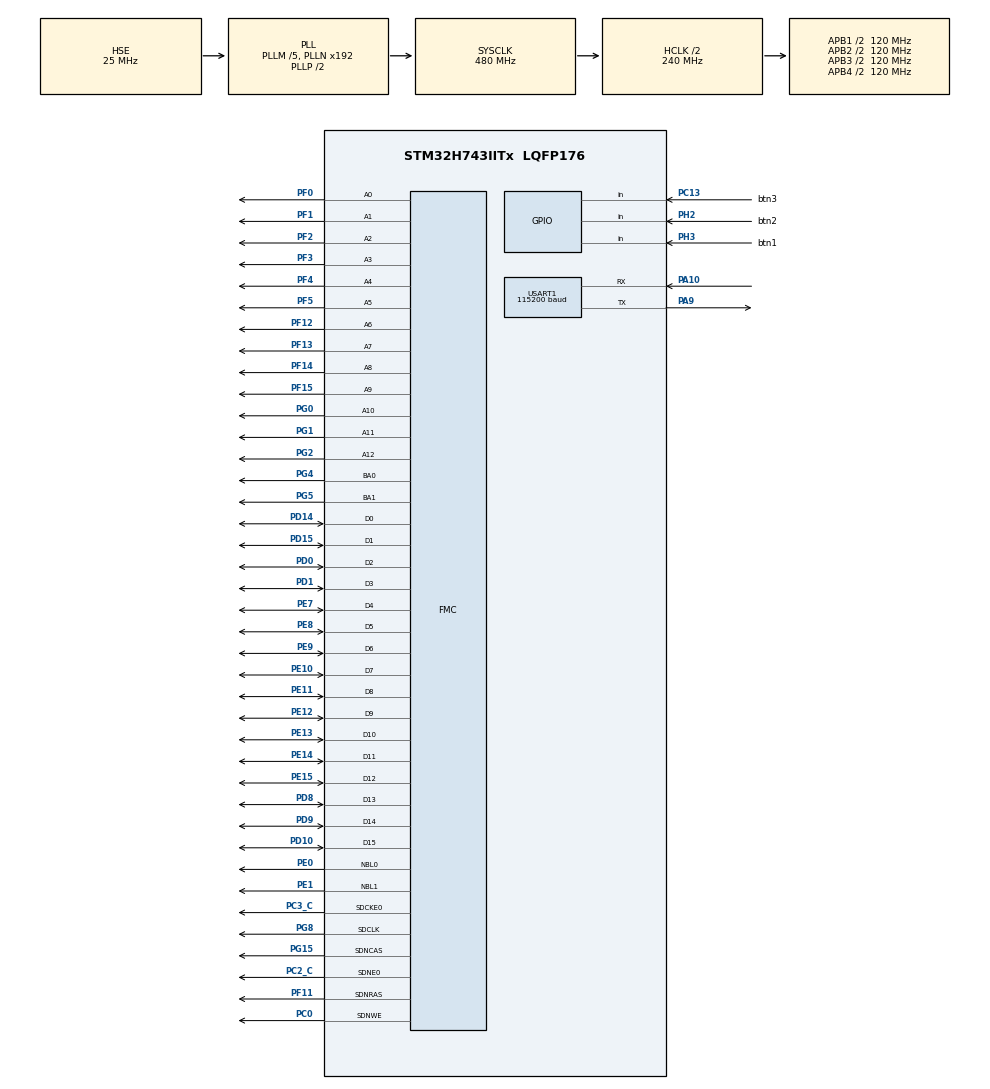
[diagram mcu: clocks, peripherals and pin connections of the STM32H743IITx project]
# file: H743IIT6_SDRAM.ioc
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CORTEX_M7.CPU_ICache=Disabled
CORTEX_M7.MPU_Control=__NULL
CORTEX_M7.default_mode_Activation=1
Dma.Request0=USART1_RX
Dma.Request1=USART1_TX
Dma.USART1_RX.0.Direction=DMA_PERIPH_TO_MEMORY
Dma.USART1_RX.0.EventEnable=DISABLE
Dma.USART1_RX.0.FIFOMode=DMA_FIFOMODE_DISABLE
Dma.USART1_RX.0.Instance=DMA1_Stream0
Dma.USART1_RX.0.MemDataAlignment=DMA_MDATAALIGN_BYTE
Dma.USART1_RX.0.MemInc=DMA_MINC_ENABLE
Dma.USART1_RX.0.Mode=DMA_NORMAL
Dma.USART1_RX.0.PeriphDataAlignment=DMA_PDATAALIGN_BYTE
Dma.USART1_RX.0.PeriphInc=DMA_PINC_DISABLE
Dma.USART1_RX.0.Polarity=HAL_DMAMUX_REQ_GEN_RISING
Dma.USART1_RX.0.Priority=DMA_PRIORITY_LOW
Dma.USART1_RX.0.RequestNumber=1
Dma.USART1_RX.0.SignalID=NONE
Dma.USART1_RX.0.SyncEnable=DISABLE
Dma.USART1_RX.0.SyncPolarity=HAL_DMAMUX_SYNC_NO_EVENT
Dma.USART1_RX.0.SyncRequestNumber=1
Dma.USART1_RX.0.SyncSignalID=NONE
Dma.USART1_TX.1.Direction=DMA_MEMORY_TO_PERIPH
Dma.USART1_TX.1.EventEnable=DISABLE
Dma.USART1_TX.1.FIFOMode=DMA_FIFOMODE_DISABLE
Dma.USART1_TX.1.Instance=DMA1_Stream1
Dma.USART1_TX.1.MemDataAlignment=DMA_MDATAALIGN_BYTE
Dma.USART1_TX.1.MemInc=DMA_MINC_ENABLE
Dma.USART1_TX.1.Mode=DMA_NORMAL
Dma.USART1_TX.1.PeriphDataAlignment=DMA_PDATAALIGN_BYTE
Dma.USART1_TX.1.PeriphInc=DMA_PINC_DISABLE
Dma.USART1_TX.1.Polarity=HAL_DMAMUX_REQ_GEN_RISING
Dma.USART1_TX.1.Priority=DMA_PRIORITY_LOW
Dma.USART1_TX.1.RequestNumber=1
Dma.USART1_TX.1.SignalID=NONE
Dma.USART1_TX.1.SyncEnable=DISABLE
Dma.USART1_TX.1.SyncPolarity=HAL_DMAMUX_SYNC_NO_EVENT
Dma.USART1_TX.1.SyncRequestNumber=1
Dma.USART1_TX.1.SyncSignalID=NONE
FMC.CASLatency1=FMC_SDRAM_CAS_LATENCY_2
FMC.ColumnBitsNumber1=FMC_SDRAM_COLUMN_BITS_NUM_9
FMC.ExitSelfRefreshDelay1=8
FMC.LoadToActiveDelay1=2
FMC.RCDDelay1=2
FMC.RPDelay1=2
FMC.RPDelay2=2
FMC.ReadBurst1=FMC_SDRAM_RBURST_ENABLE
FMC.ReadBurst2=FMC_SDRAM_RBURST_ENABLE
FMC.ReadPipeDelay1=FMC_SDRAM_RPIPE_DELAY_1
FMC.ReadPipeDelay2=FMC_SDRAM_RPIPE_DELAY_1
FMC.RowCycleDelay1=6
FMC.RowCycleDelay2=6
FMC.SDClockPeriod1=FMC_SDRAM_CLOCK_PERIOD_2
FMC.SDClockPeriod2=FMC_SDRAM_CLOCK_PERIOD_2
FMC.SelfRefreshTime1=6
FMC.WriteRecoveryTime1=4
Mcu.Family=STM32H7
Mcu.Name=STM32H743IITx
Mcu.Package=LQFP176
NVIC.DMA1_Stream0_IRQn=true\:0\:0\:false\:false\:true\:false\:true\:true
NVIC.DMA1_Stream1_IRQn=true\:0\:0\:false\:false\:true\:false\:true\:true
NVIC.FMC_IRQn=true\:0\:0\:false\:false\:true\:true\:true\:true
NVIC.PriorityGroup=NVIC_PRIORITYGROUP_4
NVIC.TIM2_IRQn=true\:0\:0\:false\:false\:true\:true\:true\:true
NVIC.USART1_IRQn=true\:0\:0\:false\:false\:true\:true\:true\:true
PA10.GPIO_Speed=GPIO_SPEED_FREQ_VERY_HIGH
PA10.Mode=Asynchronous
PA10.Signal=USART1_RX
PA13\ (JTMS/SWDIO).Mode=Serial_Wire
PA13\ (JTMS/SWDIO).Signal=DEBUG_JTMS-SWDIO
PA14\ (JTCK/SWCLK).Mode=Serial_Wire
PA14\ (JTCK/SWCLK).Signal=DEBUG_JTCK-SWCLK
PA9.GPIO_Speed=GPIO_SPEED_FREQ_VERY_HIGH
PA9.Mode=Asynchronous
PA9.Signal=USART1_TX
PC0.Signal=FMC_SDNWE
PC13.GPIO_Label=btn3
PC13.GPIO_PuPd=GPIO_PULLUP
PC13.Signal=GPIO_Input
PC14-OSC32_IN\ (OSC32_IN).Mode=LSE-External-Oscillator
PC14-OSC32_IN\ (OSC32_IN).Signal=RCC_OSC32_IN
PC15-OSC32_OUT\ (OSC32_OUT).Mode=LSE-External-Oscillator
PC15-OSC32_OUT\ (OSC32_OUT).Signal=RCC_OSC32_OUT
PC2_C.Mode=SdramChipSelect1_1
PC2_C.Signal=FMC_SDNE0
PC3_C.Mode=SdramChipSelect1_1
PC3_C.Signal=FMC_SDCKE0
PD0.Signal=FMC_D2_DA2
PD1.Signal=FMC_D3_DA3
PD10.Signal=FMC_D15_DA15
PD14.Signal=FMC_D0_DA0
PD15.Signal=FMC_D1_DA1
PD8.Signal=FMC_D13_DA13
PD9.Signal=FMC_D14_DA14
PE0.Signal=FMC_NBL0
PE1.Signal=FMC_NBL1
PE10.Signal=FMC_D7_DA7
PE11.Signal=FMC_D8_DA8
PE12.Signal=FMC_D9_DA9
PE13.Signal=FMC_D10_DA10
PE14.Signal=FMC_D11_DA11
PE15.Signal=FMC_D12_DA12
PE7.Signal=FMC_D4_DA4
PE8.Signal=FMC_D5_DA5
PE9.Signal=FMC_D6_DA6
PF0.Signal=FMC_A0
PF1.Signal=FMC_A1
PF11.Signal=FMC_SDNRAS
PF12.Signal=FMC_A6
PF13.Signal=FMC_A7
PF14.Signal=FMC_A8
PF15.Signal=FMC_A9
PF2.Signal=FMC_A2
PF3.Signal=FMC_A3
PF4.Signal=FMC_A4
PF5.Signal=FMC_A5
PG0.Signal=FMC_A10
PG1.Signal=FMC_A11
PG15.Signal=FMC_SDNCAS
PG2.Signal=FMC_A12
PG4.Signal=FMC_A14_BA0
PG5.Signal=FMC_A15_BA1
PG8.Signal=FMC_SDCLK
PH0-OSC_IN\ (PH0).Mode=HSE-External-Oscillator
PH0-OSC_IN\ (PH0).Signal=RCC_OSC_IN
PH1-OSC_OUT\ (PH1).Mode=HSE-External-Oscillator
PH1-OSC_OUT\ (PH1).Signal=RCC_OSC_OUT
PH2.GPIO_Label=btn2
PH2.GPIO_PuPd=GPIO_PULLUP
PH2.Signal=GPIO_Input
PH3.GPIO_Label=btn1
PH3.GPIO_PuPd=GPIO_PULLUP
PH3.Signal=GPIO_Input
ProjectManager.HeapSize=0x800
ProjectManager.StackSize=0x800
ProjectManager.TargetToolchain=STM32CubeIDE
RCC.ADCFreq_Value=220000000
RCC.APB1Freq_Value=120000000
RCC.APB2Freq_Value=120000000
RCC.APB3Freq_Value=120000000
RCC.APB4Freq_Value=120000000
RCC.CortexFreq_Value=480000000
RCC.D1PPRE=RCC_APB3_DIV2
RCC.D2PPRE1=RCC_APB1_DIV2
RCC.D2PPRE2=RCC_APB2_DIV2
RCC.D3PPRE=RCC_APB4_DIV2
RCC.DIVM1=5
RCC.DIVM2=25
RCC.DIVM3=25
RCC.DIVN1=192
RCC.DIVN2=440
RCC.DIVN3=440
RCC.HCLKFreq_Value=240000000
RCC.HPRE=RCC_HCLK_DIV2
RCC.PLL2FRACN=0
RCC.PLL3FRACN=0
RCC.PLLFRACN=0
RCC.PLLSourceVirtual=RCC_PLLSOURCE_HSE
RCC.SYSCLKFreq_VALUE=480000000
RCC.SYSCLKSource=RCC_SYSCLKSOURCE_PLLCLK
RCC.USBFreq_Value=480000000
SH.FMC_A0.0=FMC_A0,13b-sda1
SH.FMC_A1.0=FMC_A1,13b-sda1
SH.FMC_A10.0=FMC_A10,13b-sda1
SH.FMC_A11.0=FMC_A11,13b-sda1
SH.FMC_A12.0=FMC_A12,13b-sda1
SH.FMC_A14_BA0.0=FMC_BA0,FourSdramBanks1
SH.FMC_A15_BA1.0=FMC_BA1,FourSdramBanks1
SH.FMC_A2.0=FMC_A2,13b-sda1
SH.FMC_A3.0=FMC_A3,13b-sda1
SH.FMC_A4.0=FMC_A4,13b-sda1
SH.FMC_A5.0=FMC_A5,13b-sda1
SH.FMC_A6.0=FMC_A6,13b-sda1
SH.FMC_A7.0=FMC_A7,13b-sda1
SH.FMC_A8.0=FMC_A8,13b-sda1
SH.FMC_A9.0=FMC_A9,13b-sda1
SH.FMC_D0_DA0.0=FMC_D0,sd-16b-d1
SH.FMC_D10_DA10.0=FMC_D10,sd-16b-d1
SH.FMC_D11_DA11.0=FMC_D11,sd-16b-d1
SH.FMC_D12_DA12.0=FMC_D12,sd-16b-d1
SH.FMC_D13_DA13.0=FMC_D13,sd-16b-d1
SH.FMC_D14_DA14.0=FMC_D14,sd-16b-d1
SH.FMC_D15_DA15.0=FMC_D15,sd-16b-d1
SH.FMC_D1_DA1.0=FMC_D1,sd-16b-d1
SH.FMC_D2_DA2.0=FMC_D2,sd-16b-d1
SH.FMC_D3_DA3.0=FMC_D3,sd-16b-d1
SH.FMC_D4_DA4.0=FMC_D4,sd-16b-d1
SH.FMC_D5_DA5.0=FMC_D5,sd-16b-d1
SH.FMC_D6_DA6.0=FMC_D6,sd-16b-d1
SH.FMC_D7_DA7.0=FMC_D7,sd-16b-d1
SH.FMC_D8_DA8.0=FMC_D8,sd-16b-d1
SH.FMC_D9_DA9.0=FMC_D9,sd-16b-d1
SH.FMC_NBL0.0=FMC_NBL0,Sd2ByteEnable1
SH.FMC_NBL1.0=FMC_NBL1,Sd2ByteEnable1
SH.FMC_SDCLK.0=FMC_SDCLK,13b-sda1
SH.FMC_SDNCAS.0=FMC_SDNCAS,13b-sda1
SH.FMC_SDNRAS.0=FMC_SDNRAS,13b-sda1
SH.FMC_SDNWE.0=FMC_SDNWE,13b-sda1
TIM2.Period=10000-1
TIM2.Prescaler=24000-1
USART1.BaudRate=115200
USART1.VirtualMode-Asynchronous=VM_ASYNC
VP_MEMORYMAP_VS_MEMORYMAP.Mode=CurAppReg
VP_TIM2_VS_ClockSourceINT.Mode=Internal
board=custom

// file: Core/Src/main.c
/* USER CODE BEGIN Header */
/**
  ******************************************************************************
  * @file           : main.c
  * @brief          : Main program body
  ******************************************************************************
  * @attention
  *
  * Copyright (c) 2025 STMicroelectronics.
  * All rights reserved.
  *
  * This software is licensed under terms that can be found in the LICENSE file
  * in the root directory of this software component.
  * If no LICENSE file comes with this software, it is provided AS-IS.
  *
  ******************************************************************************
  */
/* USER CODE END Header */
#include "main.h"
#include "dma.h"
#include "tim.h"
#include "usart.h"
#include "gpio.h"
#include "fmc.h"

/* USER CODE BEGIN Includes */
#include "string.h"
#include"../inc/retarget.h"		//printf函数重映射
#include "../../User/Key/Button_event.h"
#include "../../User/W9825G6KH/W9825G6KH.h"

/* USER CODE END Includes */

/* USER CODE BEGIN PV */

uint16_t fps = 0, fps_max = 0;

uint16_t testsram[250000] __attribute__((section(".sdram_section")));//sdram测试用数组

/* USER CODE END PV */

void SystemClock_Config(void);
/* USER CODE BEGIN PFP */

//SDRAM内存测试
void fsmc_sdram_test()
{
	__IO uint32_t i=0;
	__IO uint32_t temp=0;
	__IO uint32_t sval=0;	//在地址0读到的数据

	//每隔16K字节,写入一个数据,总共写入2048个数据,刚好是32M字节
	for(i=0;i<32*1024*1024;i+=16*1024)
	{
		*(__IO uint32_t*)(SDRAM_BANK_ADDR+i)=temp;
		temp++;
	}
	//依次读出之前写入的数据,进行校验
 	for(i=0;i<32*1024*1024;i+=16*1024)
	{
  		temp=*(__IO uint32_t*)(SDRAM_BANK_ADDR+i);
		if(i==0)sval=temp;
 		else if(temp<=sval)break;//后面读出的数据一定要比第一次读到的数据大.
		printf("SDRAM Capacity:%dKB\r\n",(uint16_t)(temp-sval+1)*16);//打印SDRAM容量
 	}
}

/* USER CODE END PFP */

/* USER CODE BEGIN 0 */

//重定义'定时器周期回调'函数
void HAL_TIM_PeriodElapsedCallback(TIM_HandleTypeDef *htim){	//1S周期回调
	if(htim == &htim2){
		if(fps_max - fps < -1 || fps_max - fps > 1)
		{
			fps_max = fps;
		}

		printf("H7");
		fps++;
	}
}

char receivData[50] = {0};//存放接收内容(记得初始化)
uint8_t dataReady;//发送标志位
//重定义'串口事件回调'函数
void HAL_UARTEx_RxEventCallback(UART_HandleTypeDef *huart, uint16_t Size){
	if(huart == &huart1){
		dataReady = 1;//在主函数里处理发送

		//处理数据...

		HAL_UARTEx_ReceiveToIdle_DMA(&huart1, (uint8_t*)receivData, 50);
		__HAL_DMA_DISABLE_IT(&hdma_usart1_rx,DMA_IT_HT);//关闭DMA接收过半中断
	}
}

/* USER CODE END 0 */

int main(void)
{

  /* MCU Configuration--------------------------------------------------------*/

  /* Reset of all peripherals, Initializes the Flash interface and the Systick. */
  HAL_Init();

  /* Configure the system clock */
  SystemClock_Config();

  /* Initialize all configured peripherals */
  MX_GPIO_Init();
  MX_DMA_Init();
  MX_TIM2_Init();
  MX_USART1_UART_Init();
  MX_FMC_Init();
  /* USER CODE BEGIN 2 */
  RetargetInit(&huart1);//将printf()函数映射到UART1串口上
  Button_Init();//初始化按键
  HAL_TIM_Base_Start_IT(&htim2);//开启定时

  SDRAM_InitSequence();//W9825G6KH初始化

	uint32_t ts=0;
	for(ts=0;ts<250000;ts++)
	{
		testsram[ts]=ts;//预存测试数据
	}
	HAL_Delay(2000);
	fsmc_sdram_test();
	HAL_Delay(2000);

	for(ts=0;ts<250000;ts++)
	{
		printf("testsram[%lu]:%d\r\n",ts,testsram[ts]);  //打印SDRAM数据
	}

  /* USER CODE END 2 */

  /* Infinite loop */
  /* USER CODE BEGIN WHILE */
  while (1)
  {
	if (dataReady) {
		// 处理activeBuffer中的数据
		HAL_UART_Transmit_DMA(&huart1, (uint8_t*)receivData, strlen(receivData));
		dataReady = 0;
	}

	Button_UPDATE();

	//dosomething...

    /* USER CODE END WHILE */

  }
}

void SystemClock_Config(void)
{
  RCC_OscInitTypeDef RCC_OscInitStruct = {0};
  RCC_ClkInitTypeDef RCC_ClkInitStruct = {0};

  /** Supply configuration update enable
  */
  HAL_PWREx_ConfigSupply(PWR_LDO_SUPPLY);

  /** Configure the main internal regulator output voltage
  */
  __HAL_PWR_VOLTAGESCALING_CONFIG(PWR_REGULATOR_VOLTAGE_SCALE0);

  while(!__HAL_PWR_GET_FLAG(PWR_FLAG_VOSRDY)) {}

  /** Initializes the RCC Oscillators according to the specified parameters
  * in the RCC_OscInitTypeDef structure.
  */
  RCC_OscInitStruct.OscillatorType = RCC_OSCILLATORTYPE_HSE;
  RCC_OscInitStruct.HSEState = RCC_HSE_ON;
  RCC_OscInitStruct.PLL.PLLState = RCC_PLL_ON;
  RCC_OscInitStruct.PLL.PLLSource = RCC_PLLSOURCE_HSE;
  RCC_OscInitStruct.PLL.PLLM = 5;
  RCC_OscInitStruct.PLL.PLLN = 192;
  RCC_OscInitStruct.PLL.PLLP = 2;
  RCC_OscInitStruct.PLL.PLLQ = 2;
  RCC_OscInitStruct.PLL.PLLR = 2;
  RCC_OscInitStruct.PLL.PLLRGE = RCC_PLL1VCIRANGE_2;
  RCC_OscInitStruct.PLL.PLLVCOSEL = RCC_PLL1VCOWIDE;
  RCC_OscInitStruct.PLL.PLLFRACN = 0;
  if (HAL_RCC_OscConfig(&RCC_OscInitStruct) != HAL_OK)
  {
    Error_Handler();
  }

  /** Initializes the CPU, AHB and APB buses clocks
  */
  RCC_ClkInitStruct.ClockType = RCC_CLOCKTYPE_HCLK|RCC_CLOCKTYPE_SYSCLK
                              |RCC_CLOCKTYPE_PCLK1|RCC_CLOCKTYPE_PCLK2
                              |RCC_CLOCKTYPE_D3PCLK1|RCC_CLOCKTYPE_D1PCLK1;
  RCC_ClkInitStruct.SYSCLKSource = RCC_SYSCLKSOURCE_PLLCLK;
  RCC_ClkInitStruct.SYSCLKDivider = RCC_SYSCLK_DIV1;
  RCC_ClkInitStruct.AHBCLKDivider = RCC_HCLK_DIV2;
  RCC_ClkInitStruct.APB3CLKDivider = RCC_APB3_DIV2;
  RCC_ClkInitStruct.APB1CLKDivider = RCC_APB1_DIV2;
  RCC_ClkInitStruct.APB2CLKDivider = RCC_APB2_DIV2;
  RCC_ClkInitStruct.APB4CLKDivider = RCC_APB4_DIV2;

  if (HAL_RCC_ClockConfig(&RCC_ClkInitStruct, FLASH_LATENCY_4) != HAL_OK)
  {
    Error_Handler();
  }
}

void Error_Handler(void)
{
  __disable_irq();
  while (1)
  {
  }
}
